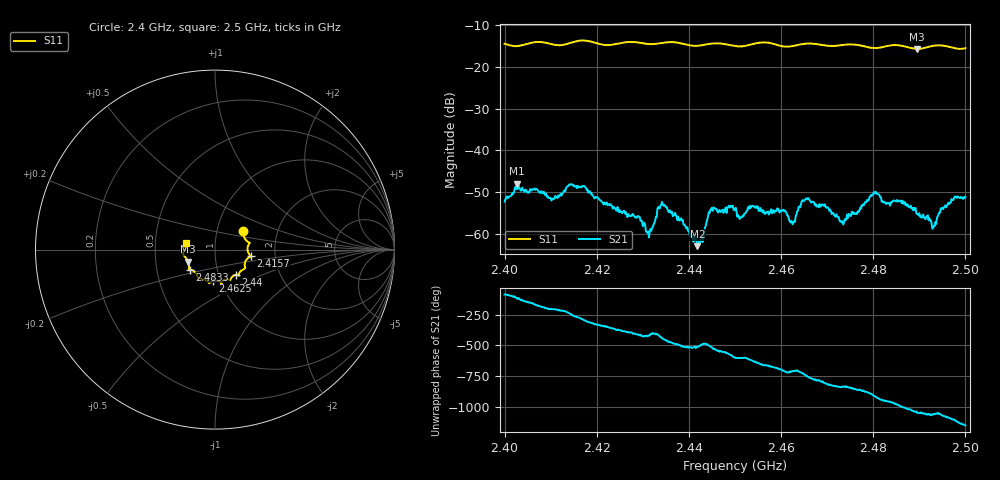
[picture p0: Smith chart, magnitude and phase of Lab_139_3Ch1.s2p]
# Hz S RI R 50
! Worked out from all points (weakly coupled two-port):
!   601 points, 2.4 GHz to 2.5 GHz, reference 50 ohm
!   highest |S21| = -47.96 dB at 2.4027 GHz (marker M1); lowest = -62.9 dB at 2.4418 GHz (marker M2)
!   lowest |S11| = -15.7 dB at 2.4895 GHz (marker M3), VSWR 1.39, Z = 36.7 - j5.13 ohm
!   |S11| at or under -10 dB: start of sweep to end of sweep
!   S12 and S22 are empty: the file has one direction only
!   S11 on the Smith chart (normalised r, x): 2.4 GHz: 1.34, +0.29; 2.4157 GHz: 1.49, -0.12; 2.44 GHz: 1.20, -0.35; 2.4625 GHz: 0.92, -0.34; 2.4833 GHz: 0.74, -0.17; 2.5 GHz: 0.72, +0.06
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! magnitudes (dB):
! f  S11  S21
! 2.4 GHz  -14.5  -52.3
! 2.4027 GHz  -15.1  -48.0
! 2.4103 GHz  -14.6  -51.7
! 2.4157 GHz  -13.8  -49.0
! 2.4167 GHz  -13.7  -48.9
! 2.4312 GHz  -14.6  -59.4
! 2.4333 GHz  -14.4  -53.6
! 2.44 GHz  -14.8  -59.3
! 2.4418 GHz  -15.0  -62.9
! 2.4448 GHz  -14.5  -54.2
! 2.45 GHz  -15.0  -54.1
! 2.4605 GHz  -15.1  -54.2
! 2.4625 GHz  -15.0  -57.7
! 2.4648 GHz  -14.5  -52.1
! 2.4667 GHz  -14.4  -52.4
! 2.4732 GHz  -14.8  -57.3
! 2.48 GHz  -15.5  -50.4
! 2.4833 GHz  -15.0  -52.6
! 2.4895 GHz  -15.7  -55.3
! 2.4932 GHz  -14.9  -58.1
! 2.4952 GHz  -14.9  -54.1
! 2.5 GHz  -15.6  -51.2
